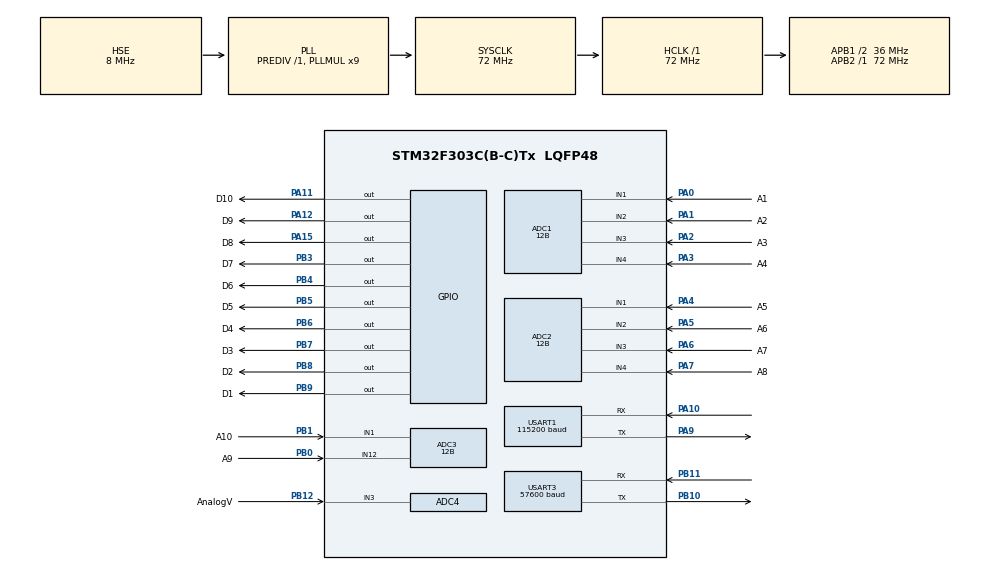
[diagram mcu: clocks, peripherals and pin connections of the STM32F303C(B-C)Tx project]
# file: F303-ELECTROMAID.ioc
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ADC1.Channel-0\#ChannelRegularConversion=ADC_CHANNEL_1
ADC1.Channel-1\#ChannelRegularConversion=ADC_CHANNEL_2
ADC1.Channel-2\#ChannelRegularConversion=ADC_CHANNEL_3
ADC1.Channel-3\#ChannelRegularConversion=ADC_CHANNEL_4
ADC1.ClockPrescaler=ADC_CLOCK_SYNC_PCLK_DIV4
ADC1.ContinuousConvMode=ENABLE
ADC1.DMAContinuousRequests=ENABLE
ADC1.EOCSelection=ADC_EOC_SEQ_CONV
ADC1.ExternalTrigConv=ADC_SOFTWARE_START
ADC1.NbrOfConversion=4
ADC1.NbrOfConversionFlag=1
ADC1.Offset-0\#ChannelRegularConversion=0
ADC1.Offset-1\#ChannelRegularConversion=0
ADC1.Offset-2\#ChannelRegularConversion=0
ADC1.Offset-3\#ChannelRegularConversion=0
ADC1.OffsetNumber-0\#ChannelRegularConversion=ADC_OFFSET_NONE
ADC1.OffsetNumber-1\#ChannelRegularConversion=ADC_OFFSET_NONE
ADC1.OffsetNumber-2\#ChannelRegularConversion=ADC_OFFSET_NONE
ADC1.OffsetNumber-3\#ChannelRegularConversion=ADC_OFFSET_NONE
ADC1.Rank-0\#ChannelRegularConversion=1
ADC1.Rank-1\#ChannelRegularConversion=2
ADC1.Rank-2\#ChannelRegularConversion=3
ADC1.Rank-3\#ChannelRegularConversion=4
ADC1.Resolution=ADC_RESOLUTION_12B
ADC1.SamplingTime-0\#ChannelRegularConversion=ADC_SAMPLETIME_181CYCLES_5
ADC1.SamplingTime-1\#ChannelRegularConversion=ADC_SAMPLETIME_181CYCLES_5
ADC1.SamplingTime-2\#ChannelRegularConversion=ADC_SAMPLETIME_181CYCLES_5
ADC1.SamplingTime-3\#ChannelRegularConversion=ADC_SAMPLETIME_181CYCLES_5
ADC1.SamplingTimeOPAMP-1\#ChannelRegularConversion=ADC_SAMPLETIME_4CYCLES_5
ADC1.SamplingTimeOPAMP-2\#ChannelRegularConversion=ADC_SAMPLETIME_4CYCLES_5
ADC1.SamplingTimeOPAMP-3\#ChannelRegularConversion=ADC_SAMPLETIME_4CYCLES_5
ADC1.SequencerNbRanks=1
ADC1.master=1
ADC2.Channel-0\#ChannelRegularConversion=ADC_CHANNEL_1
ADC2.Channel-1\#ChannelRegularConversion=ADC_CHANNEL_2
ADC2.Channel-2\#ChannelRegularConversion=ADC_CHANNEL_3
ADC2.Channel-3\#ChannelRegularConversion=ADC_CHANNEL_4
ADC2.ClockPrescaler=ADC_CLOCK_SYNC_PCLK_DIV4
ADC2.ContinuousConvMode=ENABLE
ADC2.DMAContinuousRequests=ENABLE
ADC2.EOCSelection=ADC_EOC_SEQ_CONV
ADC2.ExternalTrigConv=ADC_SOFTWARE_START
ADC2.InjNumberOfConversion=0
ADC2.NbrOfConversion=4
ADC2.NbrOfConversionFlag=1
ADC2.Offset-0\#ChannelRegularConversion=0
ADC2.Offset-1\#ChannelRegularConversion=0
ADC2.Offset-2\#ChannelRegularConversion=0
ADC2.Offset-3\#ChannelRegularConversion=0
ADC2.OffsetNumber-0\#ChannelRegularConversion=ADC_OFFSET_NONE
ADC2.OffsetNumber-1\#ChannelRegularConversion=ADC_OFFSET_NONE
ADC2.OffsetNumber-2\#ChannelRegularConversion=ADC_OFFSET_NONE
ADC2.OffsetNumber-3\#ChannelRegularConversion=ADC_OFFSET_NONE
ADC2.Rank-0\#ChannelRegularConversion=1
ADC2.Rank-1\#ChannelRegularConversion=2
ADC2.Rank-2\#ChannelRegularConversion=3
ADC2.Rank-3\#ChannelRegularConversion=4
ADC2.Resolution=ADC_RESOLUTION_12B
ADC2.SamplingTime-0\#ChannelRegularConversion=ADC_SAMPLETIME_181CYCLES_5
ADC2.SamplingTime-1\#ChannelRegularConversion=ADC_SAMPLETIME_181CYCLES_5
ADC2.SamplingTime-2\#ChannelRegularConversion=ADC_SAMPLETIME_181CYCLES_5
ADC2.SamplingTime-3\#ChannelRegularConversion=ADC_SAMPLETIME_181CYCLES_5
ADC3.Channel-0\#ChannelRegularConversion=ADC_CHANNEL_12
ADC3.Channel-1\#ChannelRegularConversion=ADC_CHANNEL_1
ADC3.Channel-2\#ChannelRegularConversion=ADC_CHANNEL_12
ADC3.Channel-3\#ChannelRegularConversion=ADC_CHANNEL_1
ADC3.ClockPrescaler=ADC_CLOCK_SYNC_PCLK_DIV4
ADC3.ContinuousConvMode=ENABLE
ADC3.DMAContinuousRequests=ENABLE
ADC3.EOCSelection=ADC_EOC_SEQ_CONV
ADC3.ExternalTrigConv=ADC_SOFTWARE_START
ADC3.NbrOfConversion=4
ADC3.NbrOfConversionFlag=1
ADC3.Offset-0\#ChannelRegularConversion=0
ADC3.Offset-1\#ChannelRegularConversion=0
ADC3.Offset-2\#ChannelRegularConversion=0
ADC3.Offset-3\#ChannelRegularConversion=0
ADC3.OffsetNumber-0\#ChannelRegularConversion=ADC_OFFSET_NONE
ADC3.OffsetNumber-1\#ChannelRegularConversion=ADC_OFFSET_NONE
ADC3.OffsetNumber-2\#ChannelRegularConversion=ADC_OFFSET_NONE
ADC3.OffsetNumber-3\#ChannelRegularConversion=ADC_OFFSET_NONE
ADC3.Rank-0\#ChannelRegularConversion=1
ADC3.Rank-1\#ChannelRegularConversion=2
ADC3.Rank-2\#ChannelRegularConversion=3
ADC3.Rank-3\#ChannelRegularConversion=4
ADC3.Resolution=ADC_RESOLUTION_12B
ADC3.SamplingTime-0\#ChannelRegularConversion=ADC_SAMPLETIME_181CYCLES_5
ADC3.SamplingTime-1\#ChannelRegularConversion=ADC_SAMPLETIME_181CYCLES_5
ADC3.SamplingTime-2\#ChannelRegularConversion=ADC_SAMPLETIME_181CYCLES_5
ADC3.SamplingTime-3\#ChannelRegularConversion=ADC_SAMPLETIME_181CYCLES_5
ADC3.SamplingTimeOPAMP-2\#ChannelRegularConversion=ADC_SAMPLETIME_61CYCLES_5
ADC3.SamplingTimeOPAMP-3\#ChannelRegularConversion=ADC_SAMPLETIME_61CYCLES_5
ADC3.master=1
ADC4.Channel-0\#ChannelRegularConversion=ADC_CHANNEL_3
ADC4.ClockPrescaler=ADC_CLOCK_SYNC_PCLK_DIV4
ADC4.ContinuousConvMode=ENABLE
ADC4.DMAContinuousRequests=ENABLE
ADC4.EOCSelection=ADC_EOC_SEQ_CONV
ADC4.ExternalTrigConv=ADC_SOFTWARE_START
ADC4.NbrOfConversion=1
ADC4.NbrOfConversionFlag=1
ADC4.Offset-0\#ChannelRegularConversion=0
ADC4.OffsetNumber-0\#ChannelRegularConversion=ADC_OFFSET_NONE
ADC4.Rank-0\#ChannelRegularConversion=1
ADC4.Resolution=ADC_RESOLUTION_12B
ADC4.SamplingTime-0\#ChannelRegularConversion=ADC_SAMPLETIME_61CYCLES_5
ARM.CMSIS.5.6.0.CMSISJjCORE=true
ARM.CMSIS.5.6.0.CMSISJjDSP=Library
Dma.ADC1.0.Direction=DMA_PERIPH_TO_MEMORY
Dma.ADC1.0.Instance=DMA1_Channel1
Dma.ADC1.0.MemDataAlignment=DMA_MDATAALIGN_HALFWORD
Dma.ADC1.0.MemInc=DMA_MINC_ENABLE
Dma.ADC1.0.Mode=DMA_CIRCULAR
Dma.ADC1.0.PeriphDataAlignment=DMA_PDATAALIGN_HALFWORD
Dma.ADC1.0.PeriphInc=DMA_PINC_DISABLE
Dma.ADC1.0.Priority=DMA_PRIORITY_LOW
Dma.ADC2.1.Direction=DMA_PERIPH_TO_MEMORY
Dma.ADC2.1.Instance=DMA2_Channel1
Dma.ADC2.1.MemDataAlignment=DMA_MDATAALIGN_HALFWORD
Dma.ADC2.1.MemInc=DMA_MINC_ENABLE
Dma.ADC2.1.Mode=DMA_CIRCULAR
Dma.ADC2.1.PeriphDataAlignment=DMA_PDATAALIGN_HALFWORD
Dma.ADC2.1.PeriphInc=DMA_PINC_DISABLE
Dma.ADC2.1.Priority=DMA_PRIORITY_LOW
Dma.ADC3.2.Direction=DMA_PERIPH_TO_MEMORY
Dma.ADC3.2.Instance=DMA2_Channel5
Dma.ADC3.2.MemDataAlignment=DMA_MDATAALIGN_HALFWORD
Dma.ADC3.2.MemInc=DMA_MINC_ENABLE
Dma.ADC3.2.Mode=DMA_CIRCULAR
Dma.ADC3.2.PeriphDataAlignment=DMA_PDATAALIGN_HALFWORD
Dma.ADC3.2.PeriphInc=DMA_PINC_DISABLE
Dma.ADC3.2.Priority=DMA_PRIORITY_LOW
Dma.ADC4.3.Direction=DMA_PERIPH_TO_MEMORY
Dma.ADC4.3.Instance=DMA2_Channel2
Dma.ADC4.3.MemDataAlignment=DMA_MDATAALIGN_HALFWORD
Dma.ADC4.3.MemInc=DMA_MINC_ENABLE
Dma.ADC4.3.Mode=DMA_CIRCULAR
Dma.ADC4.3.PeriphDataAlignment=DMA_PDATAALIGN_HALFWORD
Dma.ADC4.3.PeriphInc=DMA_PINC_DISABLE
Dma.ADC4.3.Priority=DMA_PRIORITY_LOW
Dma.Request0=ADC1
Dma.Request1=ADC2
Dma.Request2=ADC3
Dma.Request3=ADC4
FREERTOS.Events01=ADC1Event,Dynamic,NULL;ADC2Event,Dynamic,NULL;ADC3Event,Dynamic,NULL;ADC4Event,Dynamic,NULL;UARTReceiveEvent,Dynamic,NULL
FREERTOS.Tasks01=ADC1Task,24,128,StartADC1Task,Default,NULL,Dynamic,NULL,NULL;sendPowerTask,32,128,StartSendPowerTask,Default,NULL,Dynamic,NULL,NULL;processDataTask,40,128,StartProcessDataTask,Default,NULL,Dynamic,NULL,NULL;ADC2Task,25,128,StartADC2Task,Default,NULL,Dynamic,NULL,NULL;ADC3Task,26,128,StartADC3Task,Default,NULL,Dynamic,NULL,NULL;ADC4Task,16,128,StartADC4Task,Default,NULL,Dynamic,NULL,NULL
FREERTOS.configTOTAL_HEAP_SIZE=6144
Mcu.Family=STM32F3
Mcu.Name=STM32F303C(B-C)Tx
Mcu.Package=LQFP48
NVIC.DMA1_Channel1_IRQn=true\:6\:0\:true\:false\:true\:true\:false\:true
NVIC.DMA2_Channel1_IRQn=true\:6\:0\:true\:false\:true\:true\:false\:true
NVIC.DMA2_Channel2_IRQn=true\:6\:0\:true\:false\:true\:true\:false\:true
NVIC.DMA2_Channel5_IRQn=true\:6\:0\:true\:false\:true\:true\:false\:true
NVIC.PriorityGroup=NVIC_PRIORITYGROUP_4
NVIC.TIM2_IRQn=true\:5\:0\:false\:false\:true\:true\:true\:true
NVIC.TIM7_IRQn=true\:0\:0\:false\:false\:true\:false\:false\:true
NVIC.TimeBase=TIM7_IRQn
NVIC.TimeBaseIP=TIM7
NVIC.USART3_IRQn=true\:6\:0\:true\:false\:true\:true\:true\:true
PA0.GPIO_Label=A1
PA0.Mode=IN1-Single-Ended
PA0.Signal=ADC1_IN1
PA1.GPIO_Label=A2
PA1.Mode=IN2-Single-Ended
PA1.Signal=ADC1_IN2
PA10.Mode=Asynchronous
PA10.Signal=USART1_RX
PA11.GPIO_Label=D10
PA11.GPIO_PuPd=GPIO_PULLDOWN
PA11.Signal=GPIO_Output
PA12.GPIO_Label=D9
PA12.GPIO_PuPd=GPIO_PULLDOWN
PA12.Signal=GPIO_Output
PA13.Mode=Serial_Wire
PA13.Signal=SYS_JTMS-SWDIO
PA14.Mode=Serial_Wire
PA14.Signal=SYS_JTCK-SWCLK
PA15.GPIO_Label=D8
PA15.GPIO_PuPd=GPIO_PULLDOWN
PA15.Signal=GPIO_Output
PA2.GPIO_Label=A3
PA2.Mode=IN3-Single-Ended
PA2.Signal=ADC1_IN3
PA3.GPIO_Label=A4
PA3.Mode=IN4-Single-Ended
PA3.Signal=ADC1_IN4
PA4.GPIO_Label=A5
PA4.Mode=IN1-Single-Ended
PA4.Signal=ADC2_IN1
PA5.GPIO_Label=A6
PA5.Mode=IN2-Single-Ended
PA5.Signal=ADC2_IN2
PA6.GPIO_Label=A7
PA6.Mode=IN3-Single-Ended
PA6.Signal=ADC2_IN3
PA7.GPIO_Label=A8
PA7.Mode=IN4-Single-Ended
PA7.Signal=ADC2_IN4
PA9.Mode=Asynchronous
PA9.Signal=USART1_TX
PB0.GPIO_Label=A9
PB0.Mode=IN12-Single-Ended
PB0.Signal=ADC3_IN12
PB1.GPIO_Label=A10
PB1.Mode=IN1-Single-Ended
PB1.Signal=ADC3_IN1
PB10.GPIO_PuPd=GPIO_PULLDOWN
PB10.Mode=Asynchronous
PB10.Signal=USART3_TX
PB11.GPIO_PuPd=GPIO_PULLDOWN
PB11.Mode=Asynchronous
PB11.Signal=USART3_RX
PB12.GPIO_Label=AnalogV
PB12.Mode=IN3-Single-Ended
PB12.Signal=ADC4_IN3
PB3.GPIO_Label=D7
PB3.GPIO_PuPd=GPIO_PULLDOWN
PB3.Signal=GPIO_Output
PB4.GPIO_Label=D6
PB4.GPIO_PuPd=GPIO_PULLDOWN
PB4.Signal=GPIO_Output
PB5.GPIO_Label=D5
PB5.GPIO_PuPd=GPIO_PULLDOWN
PB5.Signal=GPIO_Output
PB6.GPIO_Label=D4
PB6.GPIO_PuPd=GPIO_PULLDOWN
PB6.Signal=GPIO_Output
PB7.GPIO_Label=D3
PB7.GPIO_PuPd=GPIO_PULLDOWN
PB7.Signal=GPIO_Output
PB8.GPIO_Label=D2
PB8.GPIO_PuPd=GPIO_PULLDOWN
PB8.Signal=GPIO_Output
PB9.GPIO_Label=D1
PB9.GPIO_PuPd=GPIO_PULLDOWN
PB9.Signal=GPIO_Output
PF0-OSC_IN.Mode=HSE-External-Oscillator
PF0-OSC_IN.Signal=RCC_OSC_IN
PF1-OSC_OUT.Mode=HSE-External-Oscillator
PF1-OSC_OUT.Signal=RCC_OSC_OUT
ProjectManager.HeapSize=0x200
ProjectManager.StackSize=0x400
ProjectManager.TargetToolchain=STM32CubeIDE
RCC.ADC12PRES=RCC_ADC12PLLCLK_DIV8
RCC.ADC34PRES=RCC_ADC34PLLCLK_DIV8
RCC.AHBFreq_Value=72000000
RCC.APB1CLKDivider=RCC_HCLK_DIV2
RCC.APB1Freq_Value=36000000
RCC.APB1TimFreq_Value=72000000
RCC.APB2Freq_Value=72000000
RCC.APB2TimFreq_Value=72000000
RCC.CortexFreq_Value=72000000
RCC.HCLKFreq_Value=72000000
RCC.HSE_VALUE=8000000
RCC.HSI_VALUE=8000000
RCC.LSE_VALUE=32768
RCC.PLLMUL=RCC_PLL_MUL9
RCC.PLLSourceVirtual=RCC_PLLSOURCE_HSE
RCC.SYSCLKFreq_VALUE=72000000
RCC.SYSCLKSourceVirtual=RCC_SYSCLKSOURCE_PLLCLK
RCC.USBFreq_Value=72000000
TIM2.Period=1000
TIM2.Prescaler=72 - 1
USART1.BaudRate=115200
USART1.VirtualMode-Asynchronous=VM_ASYNC
USART3.BaudRate=57600
USART3.Parity=PARITY_NONE
USART3.VirtualMode-Asynchronous=VM_ASYNC
VP_ARM.CMSIS_VS_CMSISJjDSP_1.7.0_5.6.0.Mode=CMSISJjDSP
VP_FREERTOS_VS_CMSIS_V2.Mode=CMSIS_V2
VP_SYS_VS_tim7.Mode=TIM7
VP_TIM2_VS_ClockSourceINT.Mode=Internal
board=custom

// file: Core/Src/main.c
/* USER CODE BEGIN Header */
/**
  ******************************************************************************
  * @file           : main.c
  * @brief          : Main program body
  ******************************************************************************
  * @attention
  *
  * <h2><center>&copy; Copyright (c) 2020 STMicroelectronics.
  * All rights reserved.</center></h2>
  *
  * This software component is licensed by ST under BSD 3-Clause license,
  * the "License"; You may not use this file except in compliance with the
  * License. You may obtain a copy of the License at:
  *                        opensource.org/licenses/BSD-3-Clause
  *
  ******************************************************************************
  */
/* USER CODE END Header */
#include "main.h"
#include "cmsis_os.h"

/* USER CODE BEGIN Includes */
#include <string.h>
#include <stdio.h>
#include <stdlib.h>
#include "dwt_delay.h"

/* USER CODE END Includes */

ADC_HandleTypeDef hadc1;
ADC_HandleTypeDef hadc2;
ADC_HandleTypeDef hadc3;
ADC_HandleTypeDef hadc4;
DMA_HandleTypeDef hdma_adc1;
DMA_HandleTypeDef hdma_adc2;
DMA_HandleTypeDef hdma_adc3;
DMA_HandleTypeDef hdma_adc4;

TIM_HandleTypeDef htim2;

UART_HandleTypeDef huart1;
UART_HandleTypeDef huart3;

/* Definitions for ADC1Task */
osThreadId_t ADC1TaskHandle;
const osThreadAttr_t ADC1Task_attributes = {
  .name = "ADC1Task",
  .priority = (osPriority_t) osPriorityNormal,
  .stack_size = 128 * 4
};
/* Definitions for sendPowerTask */
osThreadId_t sendPowerTaskHandle;
const osThreadAttr_t sendPowerTask_attributes = {
  .name = "sendPowerTask",
  .priority = (osPriority_t) osPriorityAboveNormal,
  .stack_size = 128 * 4
};
/* Definitions for processDataTask */
osThreadId_t processDataTaskHandle;
const osThreadAttr_t processDataTask_attributes = {
  .name = "processDataTask",
  .priority = (osPriority_t) osPriorityHigh,
  .stack_size = 128 * 4
};
/* Definitions for ADC2Task */
osThreadId_t ADC2TaskHandle;
const osThreadAttr_t ADC2Task_attributes = {
  .name = "ADC2Task",
  .priority = (osPriority_t) osPriorityNormal1,
  .stack_size = 128 * 4
};
/* Definitions for ADC3Task */
osThreadId_t ADC3TaskHandle;
const osThreadAttr_t ADC3Task_attributes = {
  .name = "ADC3Task",
  .priority = (osPriority_t) osPriorityNormal2,
  .stack_size = 128 * 4
};
/* Definitions for ADC4Task */
osThreadId_t ADC4TaskHandle;
const osThreadAttr_t ADC4Task_attributes = {
  .name = "ADC4Task",
  .priority = (osPriority_t) osPriorityBelowNormal,
  .stack_size = 128 * 4
};
/* Definitions for ADC1Event */
osEventFlagsId_t ADC1EventHandle;
const osEventFlagsAttr_t ADC1Event_attributes = {
  .name = "ADC1Event"
};
/* Definitions for ADC2Event */
osEventFlagsId_t ADC2EventHandle;
const osEventFlagsAttr_t ADC2Event_attributes = {
  .name = "ADC2Event"
};
/* Definitions for ADC3Event */
osEventFlagsId_t ADC3EventHandle;
const osEventFlagsAttr_t ADC3Event_attributes = {
  .name = "ADC3Event"
};
/* Definitions for ADC4Event */
osEventFlagsId_t ADC4EventHandle;
const osEventFlagsAttr_t ADC4Event_attributes = {
  .name = "ADC4Event"
};
/* Definitions for UARTReceiveEvent */
osEventFlagsId_t UARTReceiveEventHandle;
const osEventFlagsAttr_t UARTReceiveEvent_attributes = {
  .name = "UARTReceiveEvent"
};
/* USER CODE BEGIN PV */
module_t module[10];
uint8_t buffer[200];
uint16_t strSize;

//KONEKSI ESP32
uint8_t dma_rx_buf[DMA_BUF_SIZE];
uint8_t data[DMA_BUF_SIZE] = {'\0'};
bool OKToStart = false;
DMA_Event_t dma_uart_rx = {0, 0, DMA_BUF_SIZE};

//ADC Buffer
volatile uint16_t adc1Buffer[FILTER_BLOCK_SIZE * 2 * 4];
volatile uint16_t adc2Buffer[FILTER_BLOCK_SIZE * 2 * 4];
volatile uint16_t adc3Buffer[FILTER_BLOCK_SIZE * 2 * 4];
volatile uint16_t adc4Buffer[FILTER_BLOCK_SIZE * 2];

uint8_t adc1State = 0;
uint8_t adc2State = 0;
uint8_t adc3State = 0;
uint8_t adc4State = 0;

//Filter
const float filter_coeff[5] = { 0.00005808217093870561,
		0.00011616434187741122,
		0.00005808217093870561,
		1.9783280315766534,
		-0.9785603602604083};

float filter_input_adc1[FILTER_BLOCK_SIZE * 2];
float filter_input_adc2[FILTER_BLOCK_SIZE * 2];
float filter_input_adc3[FILTER_BLOCK_SIZE * 2];

float filter_output_adc1[FILTER_BLOCK_SIZE * 2];
float filter_output_adc2[FILTER_BLOCK_SIZE * 2];
float filter_output_adc3[FILTER_BLOCK_SIZE * 2];

//Testing
uint32_t test;
uint32_t prevTest;
uint32_t deltaTest;

//Volt Meter
arm_biquad_casd_df1_inst_f32 filter_voltMeter;
float pStateVoltMeter[4];
float filter_input_adc4[FILTER_BLOCK_SIZE * 2];
float voltMeterFilterOutput[FILTER_BLOCK_SIZE * 2];
uint8_t voltMeterSend[5] = {'#','V','\0','\0','S'};
uint8_t voltRMSSend[7] = {'#','R','\0','\0','\0','\0','S'};
Floating voltMeterValue;
Floating voltRMS;

/* USER CODE END PV */

void SystemClock_Config(void);
static void MX_GPIO_Init(void);
static void MX_DMA_Init(void);
static void MX_ADC1_Init(void);
static void MX_USART1_UART_Init(void);
static void MX_ADC2_Init(void);
static void MX_ADC3_Init(void);
static void MX_ADC4_Init(void);
static void MX_USART3_UART_Init(void);
static void MX_TIM2_Init(void);
void StartADC1Task(void *argument);
void StartSendPowerTask(void *argument);
void StartProcessDataTask(void *argument);
void StartADC2Task(void *argument);
void StartADC3Task(void *argument);
void StartADC4Task(void *argument);

/* USER CODE BEGIN PFP */
void module_init(){
	module[0].GPIOPin = D1_Pin;
	module[1].GPIOPin = D2_Pin;
	module[2].GPIOPin = D3_Pin;
	module[3].GPIOPin = D4_Pin;
	module[4].GPIOPin = D5_Pin;
	module[5].GPIOPin = D6_Pin;
	module[6].GPIOPin = D7_Pin;
	module[7].GPIOPin = D8_Pin;
	module[8].GPIOPin = D9_Pin;
	module[9].GPIOPin = D10_Pin;

	module[0].GPIOPort = D1_GPIO_Port;
	module[1].GPIOPort = D2_GPIO_Port;
	module[2].GPIOPort = D3_GPIO_Port;
	module[3].GPIOPort = D4_GPIO_Port;
	module[4].GPIOPort = D5_GPIO_Port;
	module[5].GPIOPort = D6_GPIO_Port;
	module[6].GPIOPort = D7_GPIO_Port;
	module[7].GPIOPort = D8_GPIO_Port;
	module[8].GPIOPort = D9_GPIO_Port;
	module[9].GPIOPort = D10_GPIO_Port;

	for(int i = 0; i < 10; i++){
		sprintf((char*)module[i].data_send, "#A%d", i);
		module[i].data_send[7] = 'S';

		module[i].status = false;
		module[i].aktif = true;
		module[i].midPoint = 0;
		module[i].midPointSet = false;

		arm_biquad_cascade_df1_init_f32(&module[i].filter_inst, 1, filter_coeff, module[i].pState);

	}
}

/* USER CODE END PFP */

int main(void)
{

  /* MCU Configuration--------------------------------------------------------*/

  /* Reset of all peripherals, Initializes the Flash interface and the Systick. */
  HAL_Init();

  /* Configure the system clock */
  SystemClock_Config();

  /* Initialize all configured peripherals */
  MX_GPIO_Init();
  MX_DMA_Init();
  MX_ADC1_Init();
  MX_USART1_UART_Init();
  MX_ADC2_Init();
  MX_ADC3_Init();
  MX_ADC4_Init();
  MX_USART3_UART_Init();
  MX_TIM2_Init();
  /* USER CODE BEGIN 2 */
  //HAL_TIM_Base_Start_IT(&htim6);
  HAL_Delay(2000);

  module_init();
  DWT_Init();
  HAL_TIM_Base_Start_IT(&htim2);

  arm_biquad_cascade_df1_init_f32(&filter_voltMeter, 1, filter_coeff, pStateVoltMeter);

  strSize = sprintf((char*)buffer, "Test123\r\n");
  HAL_UART_Transmit(&huart1, buffer, strSize, 100);
  HAL_UART_Transmit(&huart3, buffer, strSize, 100);

  /* USER CODE END 2 */

  /* Init scheduler */
  osKernelInitialize();

  /* Create the thread(s) */
  /* creation of ADC1Task */
  ADC1TaskHandle = osThreadNew(StartADC1Task, NULL, &ADC1Task_attributes);

  /* creation of sendPowerTask */
  sendPowerTaskHandle = osThreadNew(StartSendPowerTask, NULL, &sendPowerTask_attributes);

  /* creation of processDataTask */
  processDataTaskHandle = osThreadNew(StartProcessDataTask, NULL, &processDataTask_attributes);

  /* creation of ADC2Task */
  ADC2TaskHandle = osThreadNew(StartADC2Task, NULL, &ADC2Task_attributes);

  /* creation of ADC3Task */
  ADC3TaskHandle = osThreadNew(StartADC3Task, NULL, &ADC3Task_attributes);

  /* creation of ADC4Task */
  ADC4TaskHandle = osThreadNew(StartADC4Task, NULL, &ADC4Task_attributes);

  /* Create the event(s) */
  /* creation of ADC1Event */
  ADC1EventHandle = osEventFlagsNew(&ADC1Event_attributes);

  /* creation of ADC2Event */
  ADC2EventHandle = osEventFlagsNew(&ADC2Event_attributes);

  /* creation of ADC3Event */
  ADC3EventHandle = osEventFlagsNew(&ADC3Event_attributes);

  /* creation of ADC4Event */
  ADC4EventHandle = osEventFlagsNew(&ADC4Event_attributes);

  /* creation of UARTReceiveEvent */
  UARTReceiveEventHandle = osEventFlagsNew(&UARTReceiveEvent_attributes);

  /* Start scheduler */
  osKernelStart();

  /* We should never get here as control is now taken by the scheduler */
  /* Infinite loop */
  while (1)
  {

  }
}

void SystemClock_Config(void)
{
  RCC_OscInitTypeDef RCC_OscInitStruct = {0};
  RCC_ClkInitTypeDef RCC_ClkInitStruct = {0};
  RCC_PeriphCLKInitTypeDef PeriphClkInit = {0};

  /** Initializes the RCC Oscillators according to the specified parameters
  * in the RCC_OscInitTypeDef structure.
  */
  RCC_OscInitStruct.OscillatorType = RCC_OSCILLATORTYPE_HSE;
  RCC_OscInitStruct.HSEState = RCC_HSE_ON;
  RCC_OscInitStruct.HSEPredivValue = RCC_HSE_PREDIV_DIV1;
  RCC_OscInitStruct.HSIState = RCC_HSI_ON;
  RCC_OscInitStruct.PLL.PLLState = RCC_PLL_ON;
  RCC_OscInitStruct.PLL.PLLSource = RCC_PLLSOURCE_HSE;
  RCC_OscInitStruct.PLL.PLLMUL = RCC_PLL_MUL9;
  if (HAL_RCC_OscConfig(&RCC_OscInitStruct) != HAL_OK)
  {
    Error_Handler();
  }
  /** Initializes the CPU, AHB and APB buses clocks
  */
  RCC_ClkInitStruct.ClockType = RCC_CLOCKTYPE_HCLK|RCC_CLOCKTYPE_SYSCLK
                              |RCC_CLOCKTYPE_PCLK1|RCC_CLOCKTYPE_PCLK2;
  RCC_ClkInitStruct.SYSCLKSource = RCC_SYSCLKSOURCE_PLLCLK;
  RCC_ClkInitStruct.AHBCLKDivider = RCC_SYSCLK_DIV1;
  RCC_ClkInitStruct.APB1CLKDivider = RCC_HCLK_DIV2;
  RCC_ClkInitStruct.APB2CLKDivider = RCC_HCLK_DIV1;

  if (HAL_RCC_ClockConfig(&RCC_ClkInitStruct, FLASH_LATENCY_2) != HAL_OK)
  {
    Error_Handler();
  }
  PeriphClkInit.PeriphClockSelection = RCC_PERIPHCLK_USART1|RCC_PERIPHCLK_USART3;
  PeriphClkInit.Usart1ClockSelection = RCC_USART1CLKSOURCE_PCLK2;
  PeriphClkInit.Usart3ClockSelection = RCC_USART3CLKSOURCE_PCLK1;
  if (HAL_RCCEx_PeriphCLKConfig(&PeriphClkInit) != HAL_OK)
  {
    Error_Handler();
  }
}

static void MX_ADC1_Init(void)
{

  ADC_MultiModeTypeDef multimode = {0};
  ADC_ChannelConfTypeDef sConfig = {0};

  /** Common config
  */
  hadc1.Instance = ADC1;
  hadc1.Init.ClockPrescaler = ADC_CLOCK_SYNC_PCLK_DIV4;
  hadc1.Init.Resolution = ADC_RESOLUTION_12B;
  hadc1.Init.ScanConvMode = ADC_SCAN_ENABLE;
  hadc1.Init.ContinuousConvMode = ENABLE;
  hadc1.Init.DiscontinuousConvMode = DISABLE;
  hadc1.Init.ExternalTrigConvEdge = ADC_EXTERNALTRIGCONVEDGE_NONE;
  hadc1.Init.ExternalTrigConv = ADC_SOFTWARE_START;
  hadc1.Init.DataAlign = ADC_DATAALIGN_RIGHT;
  hadc1.Init.NbrOfConversion = 4;
  hadc1.Init.DMAContinuousRequests = ENABLE;
  hadc1.Init.EOCSelection = ADC_EOC_SEQ_CONV;
  hadc1.Init.LowPowerAutoWait = DISABLE;
  hadc1.Init.Overrun = ADC_OVR_DATA_OVERWRITTEN;
  if (HAL_ADC_Init(&hadc1) != HAL_OK)
  {
    Error_Handler();
  }
  /** Configure the ADC multi-mode
  */
  multimode.Mode = ADC_MODE_INDEPENDENT;
  if (HAL_ADCEx_MultiModeConfigChannel(&hadc1, &multimode) != HAL_OK)
  {
    Error_Handler();
  }
  /** Configure Regular Channel
  */
  sConfig.Channel = ADC_CHANNEL_1;
  sConfig.Rank = ADC_REGULAR_RANK_1;
  sConfig.SingleDiff = ADC_SINGLE_ENDED;
  sConfig.SamplingTime = ADC_SAMPLETIME_181CYCLES_5;
  sConfig.OffsetNumber = ADC_OFFSET_NONE;
  sConfig.Offset = 0;
  if (HAL_ADC_ConfigChannel(&hadc1, &sConfig) != HAL_OK)
  {
    Error_Handler();
  }
  /** Configure Regular Channel
  */
  sConfig.Channel = ADC_CHANNEL_2;
  sConfig.Rank = ADC_REGULAR_RANK_2;
  if (HAL_ADC_ConfigChannel(&hadc1, &sConfig) != HAL_OK)
  {
    Error_Handler();
  }
  /** Configure Regular Channel
  */
  sConfig.Channel = ADC_CHANNEL_3;
  sConfig.Rank = ADC_REGULAR_RANK_3;
  if (HAL_ADC_ConfigChannel(&hadc1, &sConfig) != HAL_OK)
  {
    Error_Handler();
  }
  /** Configure Regular Channel
  */
  sConfig.Channel = ADC_CHANNEL_4;
  sConfig.Rank = ADC_REGULAR_RANK_4;
  if (HAL_ADC_ConfigChannel(&hadc1, &sConfig) != HAL_OK)
  {
    Error_Handler();
  }

}

static void MX_ADC2_Init(void)
{

  ADC_ChannelConfTypeDef sConfig = {0};

  /** Common config
  */
  hadc2.Instance = ADC2;
  hadc2.Init.ClockPrescaler = ADC_CLOCK_SYNC_PCLK_DIV4;
  hadc2.Init.Resolution = ADC_RESOLUTION_12B;
  hadc2.Init.ScanConvMode = ADC_SCAN_ENABLE;
  hadc2.Init.ContinuousConvMode = ENABLE;
  hadc2.Init.DiscontinuousConvMode = DISABLE;
  hadc2.Init.ExternalTrigConvEdge = ADC_EXTERNALTRIGCONVEDGE_NONE;
  hadc2.Init.ExternalTrigConv = ADC_SOFTWARE_START;
  hadc2.Init.DataAlign = ADC_DATAALIGN_RIGHT;
  hadc2.Init.NbrOfConversion = 4;
  hadc2.Init.DMAContinuousRequests = ENABLE;
  hadc2.Init.EOCSelection = ADC_EOC_SEQ_CONV;
  hadc2.Init.LowPowerAutoWait = DISABLE;
  hadc2.Init.Overrun = ADC_OVR_DATA_OVERWRITTEN;
  if (HAL_ADC_Init(&hadc2) != HAL_OK)
  {
    Error_Handler();
  }
  /** Configure Regular Channel
  */
  sConfig.Channel = ADC_CHANNEL_1;
  sConfig.Rank = ADC_REGULAR_RANK_1;
  sConfig.SingleDiff = ADC_SINGLE_ENDED;
  sConfig.SamplingTime = ADC_SAMPLETIME_181CYCLES_5;
  sConfig.OffsetNumber = ADC_OFFSET_NONE;
  sConfig.Offset = 0;
  if (HAL_ADC_ConfigChannel(&hadc2, &sConfig) != HAL_OK)
  {
    Error_Handler();
  }
  /** Configure Regular Channel
  */
  sConfig.Channel = ADC_CHANNEL_2;
  sConfig.Rank = ADC_REGULAR_RANK_2;
  if (HAL_ADC_ConfigChannel(&hadc2, &sConfig) != HAL_OK)
  {
    Error_Handler();
  }
  /** Configure Regular Channel
  */
  sConfig.Channel = ADC_CHANNEL_3;
  sConfig.Rank = ADC_REGULAR_RANK_3;
  if (HAL_ADC_ConfigChannel(&hadc2, &sConfig) != HAL_OK)
  {
    Error_Handler();
  }
  /** Configure Regular Channel
  */
  sConfig.Channel = ADC_CHANNEL_4;
  sConfig.Rank = ADC_REGULAR_RANK_4;
  if (HAL_ADC_ConfigChannel(&hadc2, &sConfig) != HAL_OK)
  {
    Error_Handler();
  }

}

static void MX_ADC3_Init(void)
{

  ADC_MultiModeTypeDef multimode = {0};
  ADC_ChannelConfTypeDef sConfig = {0};

  /** Common config
  */
  hadc3.Instance = ADC3;
  hadc3.Init.ClockPrescaler = ADC_CLOCK_SYNC_PCLK_DIV4;
  hadc3.Init.Resolution = ADC_RESOLUTION_12B;
  hadc3.Init.ScanConvMode = ADC_SCAN_ENABLE;
  hadc3.Init.ContinuousConvMode = ENABLE;
  hadc3.Init.DiscontinuousConvMode = DISABLE;
  hadc3.Init.ExternalTrigConvEdge = ADC_EXTERNALTRIGCONVEDGE_NONE;
  hadc3.Init.ExternalTrigConv = ADC_SOFTWARE_START;
  hadc3.Init.DataAlign = ADC_DATAALIGN_RIGHT;
  hadc3.Init.NbrOfConversion = 4;
  hadc3.Init.DMAContinuousRequests = ENABLE;
  hadc3.Init.EOCSelection = ADC_EOC_SEQ_CONV;
  hadc3.Init.LowPowerAutoWait = DISABLE;
  hadc3.Init.Overrun = ADC_OVR_DATA_OVERWRITTEN;
  if (HAL_ADC_Init(&hadc3) != HAL_OK)
  {
    Error_Handler();
  }
  /** Configure the ADC multi-mode
  */
  multimode.Mode = ADC_MODE_INDEPENDENT;
  if (HAL_ADCEx_MultiModeConfigChannel(&hadc3, &multimode) != HAL_OK)
  {
    Error_Handler();
  }
  /** Configure Regular Channel
  */
  sConfig.Channel = ADC_CHANNEL_12;
  sConfig.Rank = ADC_REGULAR_RANK_1;
  sConfig.SingleDiff = ADC_SINGLE_ENDED;
  sConfig.SamplingTime = ADC_SAMPLETIME_181CYCLES_5;
  sConfig.OffsetNumber = ADC_OFFSET_NONE;
  sConfig.Offset = 0;
  if (HAL_ADC_ConfigChannel(&hadc3, &sConfig) != HAL_OK)
  {
    Error_Handler();
  }
  /** Configure Regular Channel
  */
  sConfig.Channel = ADC_CHANNEL_1;
  sConfig.Rank = ADC_REGULAR_RANK_2;
  if (HAL_ADC_ConfigChannel(&hadc3, &sConfig) != HAL_OK)
  {
    Error_Handler();
  }
  /** Configure Regular Channel
  */
  sConfig.Channel = ADC_CHANNEL_12;
  sConfig.Rank = ADC_REGULAR_RANK_3;
  if (HAL_ADC_ConfigChannel(&hadc3, &sConfig) != HAL_OK)
  {
    Error_Handler();
  }
  /** Configure Regular Channel
  */
  sConfig.Channel = ADC_CHANNEL_1;
  sConfig.Rank = ADC_REGULAR_RANK_4;
  if (HAL_ADC_ConfigChannel(&hadc3, &sConfig) != HAL_OK)
  {
    Error_Handler();
  }

}

static void MX_ADC4_Init(void)
{

  ADC_ChannelConfTypeDef sConfig = {0};

  /** Common config
  */
  hadc4.Instance = ADC4;
  hadc4.Init.ClockPrescaler = ADC_CLOCK_SYNC_PCLK_DIV4;
  hadc4.Init.Resolution = ADC_RESOLUTION_12B;
  hadc4.Init.ScanConvMode = ADC_SCAN_DISABLE;
  hadc4.Init.ContinuousConvMode = ENABLE;
  hadc4.Init.DiscontinuousConvMode = DISABLE;
  hadc4.Init.ExternalTrigConvEdge = ADC_EXTERNALTRIGCONVEDGE_NONE;
  hadc4.Init.ExternalTrigConv = ADC_SOFTWARE_START;
  hadc4.Init.DataAlign = ADC_DATAALIGN_RIGHT;
  hadc4.Init.NbrOfConversion = 1;
  hadc4.Init.DMAContinuousRequests = ENABLE;
  hadc4.Init.EOCSelection = ADC_EOC_SEQ_CONV;
  hadc4.Init.LowPowerAutoWait = DISABLE;
  hadc4.Init.Overrun = ADC_OVR_DATA_OVERWRITTEN;
  if (HAL_ADC_Init(&hadc4) != HAL_OK)
  {
    Error_Handler();
  }
  /** Configure Regular Channel
  */
  sConfig.Channel = ADC_CHANNEL_3;
  sConfig.Rank = ADC_REGULAR_RANK_1;
  sConfig.SingleDiff = ADC_SINGLE_ENDED;
  sConfig.SamplingTime = ADC_SAMPLETIME_61CYCLES_5;
  sConfig.OffsetNumber = ADC_OFFSET_NONE;
  sConfig.Offset = 0;
  if (HAL_ADC_ConfigChannel(&hadc4, &sConfig) != HAL_OK)
  {
    Error_Handler();
  }

}

static void MX_TIM2_Init(void)
{

  TIM_ClockConfigTypeDef sClockSourceConfig = {0};
  TIM_MasterConfigTypeDef sMasterConfig = {0};

  htim2.Instance = TIM2;
  htim2.Init.Prescaler = 72 - 1;
  htim2.Init.CounterMode = TIM_COUNTERMODE_UP;
  htim2.Init.Period = 1000;
  htim2.Init.ClockDivision = TIM_CLOCKDIVISION_DIV1;
  htim2.Init.AutoReloadPreload = TIM_AUTORELOAD_PRELOAD_DISABLE;
  if (HAL_TIM_Base_Init(&htim2) != HAL_OK)
  {
    Error_Handler();
  }
  sClockSourceConfig.ClockSource = TIM_CLOCKSOURCE_INTERNAL;
  if (HAL_TIM_ConfigClockSource(&htim2, &sClockSourceConfig) != HAL_OK)
  {
    Error_Handler();
  }
  sMasterConfig.MasterOutputTrigger = TIM_TRGO_RESET;
  sMasterConfig.MasterSlaveMode = TIM_MASTERSLAVEMODE_DISABLE;
  if (HAL_TIMEx_MasterConfigSynchronization(&htim2, &sMasterConfig) != HAL_OK)
  {
    Error_Handler();
  }

}

static void MX_USART1_UART_Init(void)
{

  huart1.Instance = USART1;
  huart1.Init.BaudRate = 115200;
  huart1.Init.WordLength = UART_WORDLENGTH_8B;
  huart1.Init.StopBits = UART_STOPBITS_1;
  huart1.Init.Parity = UART_PARITY_NONE;
  huart1.Init.Mode = UART_MODE_TX_RX;
  huart1.Init.HwFlowCtl = UART_HWCONTROL_NONE;
  huart1.Init.OverSampling = UART_OVERSAMPLING_16;
  huart1.Init.OneBitSampling = UART_ONE_BIT_SAMPLE_DISABLE;
  huart1.AdvancedInit.AdvFeatureInit = UART_ADVFEATURE_NO_INIT;
  if (HAL_UART_Init(&huart1) != HAL_OK)
  {
    Error_Handler();
  }

}

static void MX_USART3_UART_Init(void)
{

  huart3.Instance = USART3;
  huart3.Init.BaudRate = 57600;
  huart3.Init.WordLength = UART_WORDLENGTH_8B;
  huart3.Init.StopBits = UART_STOPBITS_1;
  huart3.Init.Parity = UART_PARITY_NONE;
  huart3.Init.Mode = UART_MODE_TX_RX;
  huart3.Init.HwFlowCtl = UART_HWCONTROL_NONE;
  huart3.Init.OverSampling = UART_OVERSAMPLING_16;
  huart3.Init.OneBitSampling = UART_ONE_BIT_SAMPLE_DISABLE;
  huart3.AdvancedInit.AdvFeatureInit = UART_ADVFEATURE_NO_INIT;
  if (HAL_UART_Init(&huart3) != HAL_OK)
  {
    Error_Handler();
  }

}

static void MX_DMA_Init(void)
{

  /* DMA controller clock enable */
  __HAL_RCC_DMA1_CLK_ENABLE();
  __HAL_RCC_DMA2_CLK_ENABLE();

  /* DMA interrupt init */
  /* DMA1_Channel1_IRQn interrupt configuration */
  HAL_NVIC_SetPriority(DMA1_Channel1_IRQn, 6, 0);
  HAL_NVIC_EnableIRQ(DMA1_Channel1_IRQn);
  /* DMA2_Channel1_IRQn interrupt configuration */
  HAL_NVIC_SetPriority(DMA2_Channel1_IRQn, 6, 0);
  HAL_NVIC_EnableIRQ(DMA2_Channel1_IRQn);
  /* DMA2_Channel2_IRQn interrupt configuration */
  HAL_NVIC_SetPriority(DMA2_Channel2_IRQn, 6, 0);
  HAL_NVIC_EnableIRQ(DMA2_Channel2_IRQn);
  /* DMA2_Channel5_IRQn interrupt configuration */
  HAL_NVIC_SetPriority(DMA2_Channel5_IRQn, 6, 0);
  HAL_NVIC_EnableIRQ(DMA2_Channel5_IRQn);

}

static void MX_GPIO_Init(void)
{
  GPIO_InitTypeDef GPIO_InitStruct = {0};

  /* GPIO Ports Clock Enable */
  __HAL_RCC_GPIOF_CLK_ENABLE();
  __HAL_RCC_GPIOA_CLK_ENABLE();
  __HAL_RCC_GPIOB_CLK_ENABLE();

  /*Configure GPIO pin Output Level */
  HAL_GPIO_WritePin(GPIOA, D10_Pin|D9_Pin|D8_Pin, GPIO_PIN_RESET);

  /*Configure GPIO pin Output Level */
  HAL_GPIO_WritePin(GPIOB, D7_Pin|D6_Pin|D5_Pin|D4_Pin
                          |D3_Pin|D2_Pin|D1_Pin, GPIO_PIN_RESET);

  /*Configure GPIO pins : D10_Pin D9_Pin D8_Pin */
  GPIO_InitStruct.Pin = D10_Pin|D9_Pin|D8_Pin;
  GPIO_InitStruct.Mode = GPIO_MODE_OUTPUT_PP;
  GPIO_InitStruct.Pull = GPIO_PULLDOWN;
  GPIO_InitStruct.Speed = GPIO_SPEED_FREQ_LOW;
  HAL_GPIO_Init(GPIOA, &GPIO_InitStruct);

  /*Configure GPIO pins : D7_Pin D6_Pin D5_Pin D4_Pin
                           D3_Pin D2_Pin D1_Pin */
  GPIO_InitStruct.Pin = D7_Pin|D6_Pin|D5_Pin|D4_Pin
                          |D3_Pin|D2_Pin|D1_Pin;
  GPIO_InitStruct.Mode = GPIO_MODE_OUTPUT_PP;
  GPIO_InitStruct.Pull = GPIO_PULLDOWN;
  GPIO_InitStruct.Speed = GPIO_SPEED_FREQ_LOW;
  HAL_GPIO_Init(GPIOB, &GPIO_InitStruct);

}

/* USER CODE BEGIN 4 */
void HAL_ADC_ConvCpltCallback(ADC_HandleTypeDef *hadc){
	if(hadc->Instance == ADC1){
		osEventFlagsSet(ADC1EventHandle, 1);
	} else if(hadc->Instance == ADC2){
		osEventFlagsSet(ADC2EventHandle, 1);
	} else if(hadc->Instance == ADC3){
		osEventFlagsSet(ADC3EventHandle, 1);
	} else if(hadc->Instance == ADC4){
		osEventFlagsSet(ADC4EventHandle, 1);
	}
}
void HAL_ADC_ConvHalfCpltCallback(ADC_HandleTypeDef *hadc){
		/*if(hadc->Instance == ADC1){
			adc1State = 1;
		} else if(hadc->Instance == ADC2){
			adc2State = 1;
		} else if(hadc->Instance == ADC3){
			adc3State = 1;
		} else if(hadc->Instance == ADC4){
			adc4State = 1;
		}*/
}

void HAL_UART_RxCpltCallback(UART_HandleTypeDef *huart){
	if(huart->Instance == USART3){
		static int length;
		static bool captureSerial;
		static bool stringComplete;
		static uint16_t rxChar;

		rxChar = USART3->RDR;

		if(rxChar == '#' && !captureSerial){
			captureSerial = true;
		} else if(rxChar == 'S' && captureSerial){
			stringComplete = true;
		}

		if(captureSerial){
			data[length] = rxChar;
			length++;
		}

		if(stringComplete){
			captureSerial = false;
		    stringComplete = false;
		    length = 0;
		    osEventFlagsSet(UARTReceiveEventHandle, 1);
		}
		HAL_UART_Receive_IT(&huart3, dma_rx_buf, 1);
	    /*uint16_t i, pos, start, length;
	    uint16_t currCNDTR = __HAL_DMA_GET_COUNTER(huart3.hdmarx);

	    // Ignore IDLE Timeout when the received characters exactly filled up the DMA buffer and DMA Rx Complete IT is generated, but there is no new character during timeout
	    if(dma_uart_rx.flag && currCNDTR == DMA_BUF_SIZE)
	    {
	        dma_uart_rx.flag = 0;
	        return;
	    }

	    // Determine start position in DMA buffer based on previous CNDTR value
	    start = (dma_uart_rx.prevCNDTR < DMA_BUF_SIZE) ? (DMA_BUF_SIZE - dma_uart_rx.prevCNDTR) : 0;

	    if(dma_uart_rx.flag)    //TimeOutEvent
	    {
	        /* Determine new data length based on previous DMA_CNDTR value:
	         *  If previous CNDTR is less than DMA buffer size: there is old data in DMA buffer (from previous timeout) that has to be ignored.
	         *  If CNDTR == DMA buffer size: entire buffer content is new and has to be processed.

	        length = (dma_uart_rx.prevCNDTR < DMA_BUF_SIZE) ? (dma_uart_rx.prevCNDTR - currCNDTR) : (DMA_BUF_SIZE - currCNDTR);
	        dma_uart_rx.prevCNDTR = currCNDTR;
	        dma_uart_rx.flag = 0;
	    }
	    else                /* DMA Rx Complete event
	    {
	        length = DMA_BUF_SIZE - start;
	        dma_uart_rx.prevCNDTR = DMA_BUF_SIZE;
	    }

	    /* Copy and Process new data
	    for(i=0,pos=start; i<length; ++i,++pos)
	    {
	        data[i] = dma_rx_buf[pos];
	    }*/
	}
}
/* USER CODE END 4 */

void StartADC1Task(void *argument)
{
  /* USER CODE BEGIN 5 */
  HAL_ADC_Start_DMA(&hadc1, (uint32_t*)adc1Buffer, FILTER_BLOCK_SIZE * 2 * 4);
  /* Infinite loop */
  for(;;)
  {
	  osEventFlagsWait(ADC1EventHandle, 1, osFlagsWaitAny, osWaitForever);
	  for(int i = 0; i < 4; i++){
		for(int j = 0; j < FILTER_BLOCK_SIZE * 2; j++){
			filter_input_adc1[j] = (float)(((float)adc1Buffer[i + (4 * j)] - 2080) / (float)4095) * 3.30;
		}

		arm_biquad_cascade_df1_f32(&module[i].filter_inst, filter_input_adc1, filter_output_adc1, FILTER_BLOCK_SIZE * 2);
		arm_rms_f32(filter_output_adc1, FILTER_BLOCK_SIZE * 2, &module[i].rms.f);
		module[i].totalAmp += module[i].rms.f;
		module[i].samples++;
		module[i].Amp.f = module[i].totalAmp / module[i].samples;
		if(module[i].status == false || module[i].aktif == false){
			module[i].Power.f = 0;
		}else{
			module[i].Power.f = (module[i].Amp.f * 220.0);
		}
	  }
	  adc1State = 0;
	  osEventFlagsClear(ADC1EventHandle, 1);
  }
  /* USER CODE END 5 */
}

void StartSendPowerTask(void *argument)
{
  /* USER CODE BEGIN StartSendPowerTask */
  /* Infinite loop */
  for(;;)
  {
	  for(int i = 0; i < 10; i++){
		memcpy(module[i].data_send + 3, module[i].Power.ui8, 4);
		memcpy(buffer + (i * 8), module[i].data_send, 8);
		module[i].totalAmp = 0;
		module[i].samples = 0;
		//HAL_UART_Transmit_IT(&huart3, module[i].data_send, 8);
	  }
	  HAL_UART_Transmit_IT(&huart3, buffer, 80);
	  osDelay(1000);
  }
  /* USER CODE END StartSendPowerTask */
}

void StartProcessDataTask(void *argument)
{
  /* USER CODE BEGIN StartProcessDataTask */
	//HAL_UART_Receive_DMA(&huart3, dma_rx_buf, DMA_BUF_SIZE);
	//__HAL_UART_CLEAR_IDLEFLAG(&huart3);
	//__HAL_UART_ENABLE_IT(&huart3, UART_IT_IDLE);

	//__HAL_DMA_DISABLE_IT(huart3.hdmarx, DMA_IT_HT);
	HAL_UART_Receive_IT(&huart3, dma_rx_buf, 1);
  /* Infinite loop */
  for(;;)
  {
	osEventFlagsWait(UARTReceiveEventHandle, 1, osFlagsWaitAny, osWaitForever);
	if(data[0] == '#' && data[4] == 'S'){
		if(data[1] == 'D'){
			module[data[2] - 48].status = data[3];
			HAL_GPIO_WritePin(module[data[2] - 48].GPIOPort, module[data[2] - 48].GPIOPin, module[data[2] - 48].status);
			//HAL_UART_Transmit_IT(&huart3, (uint8_t*)"#RECVS", 6);
		}
		else if(data[1] == 'Q'){
			//module[data[2] - 48].aktif = data[3];
			//HAL_UART_Transmit_IT(&huart3, (uint8_t*)"#RECVS", 6);
		}

	}
    osEventFlagsClear(UARTReceiveEventHandle, 1);
  }
  /* USER CODE END StartProcessDataTask */
}

void StartADC2Task(void *argument)
{
  /* USER CODE BEGIN StartADC2Task */
	  HAL_ADC_Start_DMA(&hadc2, (uint32_t*)adc2Buffer, FILTER_BLOCK_SIZE * 2 * 4);
  /* Infinite loop */
  for(;;)
  {
	 osEventFlagsWait(ADC2EventHandle, 1, osFlagsWaitAny, osWaitForever);
	 for(int i = 0; i < 4; i++){
		for(int j = 0; j < FILTER_BLOCK_SIZE * 2; j++){
		//adcBuffer[j] = adc1Buffer[i + (4 * j)];
		filter_input_adc2[j] = (float)(((float)adc2Buffer[i + (4 * j)] - (float)2080) / (float)4095) * 3.30;
		}

		arm_biquad_cascade_df1_f32(&module[i + 4].filter_inst, filter_input_adc2, filter_output_adc2, FILTER_BLOCK_SIZE * 2);
		arm_rms_f32(filter_output_adc2, FILTER_BLOCK_SIZE * 2, &module[i + 4].rms.f);
		module[i + 4].totalAmp += module[i + 4].rms.f;
		module[i + 4].samples++;
		module[i + 4].Amp.f = module[i + 4].totalAmp / module[i + 4].samples;
		if(module[i + 4].status == false || module[i + 4].aktif == false){
			module[i + 4].Power.f = 0;
		} else{
			module[i + 4].Power.f = (module[i + 4].Amp.f * 220.0);
		}
	}
	osEventFlagsClear(ADC2EventHandle, 1);
  }
  /* USER CODE END StartADC2Task */
}

void StartADC3Task(void *argument)
{
  /* USER CODE BEGIN StartADC3Task */
	  HAL_ADC_Start_DMA(&hadc3, (uint32_t*)adc3Buffer, FILTER_BLOCK_SIZE * 2 * 4);
  /* Infinite loop */
  for(;;)
  {
	 osEventFlagsWait(ADC3EventHandle, 1, osFlagsWaitAny, osWaitForever);
	 for(int i = 0; i < 2; i++){
		for(int j = 0; j < FILTER_BLOCK_SIZE * 2; j++){
			//adcBuffer[j] = adc1Buffer[i + (4 * j)];
			filter_input_adc3[j] = (float)(((float)adc3Buffer[i + (4 * j)] - (float)2080) / (float)4095) * 3.30;
		}

		arm_biquad_cascade_df1_f32(&module[i + 8].filter_inst, filter_input_adc3, filter_output_adc3, FILTER_BLOCK_SIZE * 2);
		arm_rms_f32(filter_output_adc3, FILTER_BLOCK_SIZE * 2, &module[i + 8].rms.f);
		module[i + 8].totalAmp += module[i + 8].rms.f;
		module[i + 8].samples++;
		module[i + 8].Amp.f = module[i + 8].totalAmp / module[i + 8].samples;
		if(module[i + 8].status == false || module[i + 8].aktif == false){
			module[i + 8].Power.f = 0;
		} else{
			module[i + 8].Power.f = (module[i + 8].Amp.f * 220.0);
		}
	}
	osEventFlagsClear(ADC3EventHandle, 1);
  }
  /* USER CODE END StartADC3Task */
}

void StartADC4Task(void *argument)
{
  /* USER CODE BEGIN StartADC4Task */
	HAL_ADC_Start_DMA(&hadc4, (uint32_t*)adc4Buffer, FILTER_BLOCK_SIZE * 2);
  /* Infinite loop */
  for(;;)
  {
    osDelay(osWaitForever);
  }
  /* USER CODE END StartADC4Task */
}

 /**
  * @brief  Period elapsed callback in non blocking mode
  * @note   This function is called  when TIM7 interrupt took place, inside
  * HAL_TIM_IRQHandler(). It makes a direct call to HAL_IncTick() to increment
  * a global variable "uwTick" used as application time base.
  * @param  htim : TIM handle
  * @retval None
  */
void HAL_TIM_PeriodElapsedCallback(TIM_HandleTypeDef *htim)
{
  if (htim->Instance == TIM7) {
    HAL_IncTick();
  }
  /* USER CODE BEGIN Callback 1 */
  /*if(htim->Instance == TIM2){
	if(dma_uart_rx.timer == 1){
		dma_uart_rx.flag = 1;
		hdma_usart3_rx.XferCpltCallback(&hdma_usart3_rx);
	}
	if(dma_uart_rx.timer) --dma_uart_rx.timer;
  }*/
  /* USER CODE END Callback 1 */
}

void Error_Handler(void)
{
}

/************************ (C) COPYRIGHT STMicroelectronics *****END OF FILE****/
